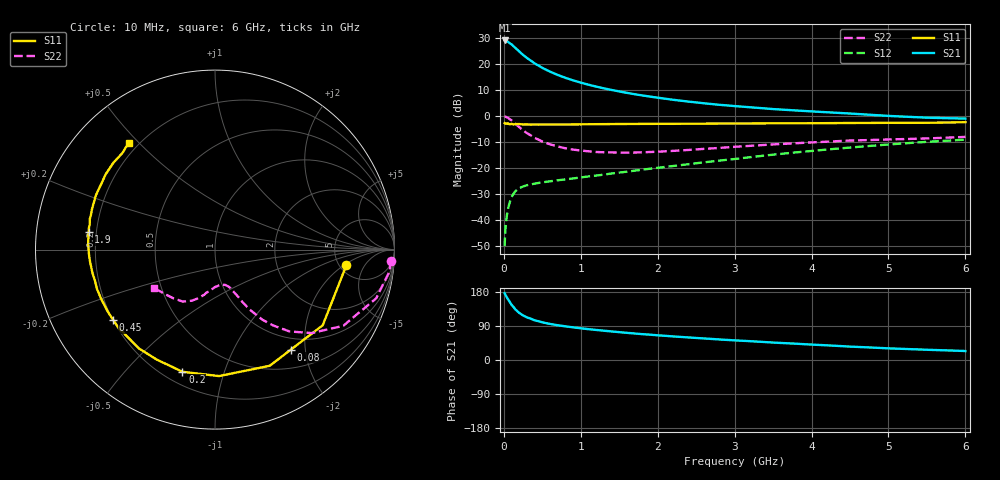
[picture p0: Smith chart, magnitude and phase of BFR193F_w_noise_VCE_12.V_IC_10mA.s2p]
! Infineon Technologies  Discrete & RF Semiconductors
! BFR193F
! VCE =  12. V,  IC =  10 mA
! Common Emitter S-Parameters:  Jan 2017
# GHz  S  MA  R  50
!  f  S11  S21  S12  S22
! GHz  MAG  ANG  MAG  ANG  MAG  ANG  MAG  ANG
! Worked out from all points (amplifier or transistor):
!   77 points, 10 MHz to 6 GHz, reference 50 ohm
!   highest |S21| = 29.1 dB at 10 MHz (marker M1)
!   |S21| within 3 dB of that: start of sweep to 155.4 MHz
!   unconditionally stable (mu >= 1): 1.605 GHz to 2.869 GHz
!   at 130 MHz: K = 0.18, MSG = 28.2 dB, |S12| = -29.6 dB
!   at 2.2 GHz: K = 1.05, MAG = 11.4 dB, |S12| = -19.1 dB
!   at 6 GHz: K = 0.78, MSG = 4.0 dB, |S12| = -9.0 dB
!   lowest NFmin = 0.87 dB at 450 MHz
!   S11 on the Smith chart (normalised r, x): 10 MHz: 5.77, -2.18; 80 MHz: 0.79, -1.73; 200 MHz: 0.27, -0.73; 450 MHz: 0.20, -0.30; 1.9 GHz: 0.17, +0.07; 6 GHz: 0.16, +0.47
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0.01  0.7374 -6.7  28.35 176.3  0.0032 80.0  0.9802 -3.6
0.02  0.7178 -14.9  27.77 172.1  0.0067 81.1  0.9803 -7.0
0.05  0.7334 -35.1  26.98 161.4  0.0156 73.5  0.9384 -16.8
0.08  0.6994 -52.8  24.9 152.3  0.023 64.7  0.8677 -24.7
0.1  0.7155 -64.8  23.91 145.5  0.0281 61.5  0.8311 -30.7
0.15  0.705 -88.2  20.41 133.5  0.0364 52.9  0.713 -40.7
0.2  0.7044 -104.9  17.45 124.3  0.0415 47.0  0.6165 -47.7
0.25  0.6934 -117.9  14.96 117.6  0.0447 43.3  0.533 -52.5
0.3  0.6948 -127.4  13.08 112.5  0.0473 41.4  0.4723 -55.9
0.4  0.6921 -140.9  10.3 104.7  0.0507 39.0  0.3832 -60.1
0.45  0.6891 -145.4  9.363 102.3  0.0522 39.2  0.3546 -61.2
0.6  0.691 -156.6  7.149 95.2  0.0562 40.0  0.2879 -64.1
0.7  0.6932 -161.6  6.188 91.7  0.0588 41.8  0.2622 -65.8
0.9  0.6949 -169.0  4.867 86.2  0.0638 46.0  0.2282 -68.5
1.1  0.6993 -174.3  4.014 81.4  0.0697 49.5  0.2118 -71.9
1.5  0.7075 177.9  2.979 73.5  0.0826 56.3  0.1995 -79.4
1.9  0.7102 172.2  2.373 66.8  0.098 61.4  0.205 -87.4
2.1  0.7124 169.7  2.16 63.8  0.1062 63.7  0.2117 -91.0
3.1  0.7236 159.4  1.522 50.8  0.1568 70.2  0.2636 -104.6
4.1  0.7325 149.4  1.21 39.7  0.2219 71.0  0.3185 -116.2
5.1  0.7443 138.3  0.995 30.0  0.293 67.4  0.36 -132.3
6  0.7656 129.0  0.898 23.7  0.3539 62.2  0.4003 -147.6
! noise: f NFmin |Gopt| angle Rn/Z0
0.45  0.87  0.25  139  0.07
0.9  1  0.38  152  0.07
1.9  1.7  0.59  -176  0.06
2.4  2.05  0.63  -165  0.08
